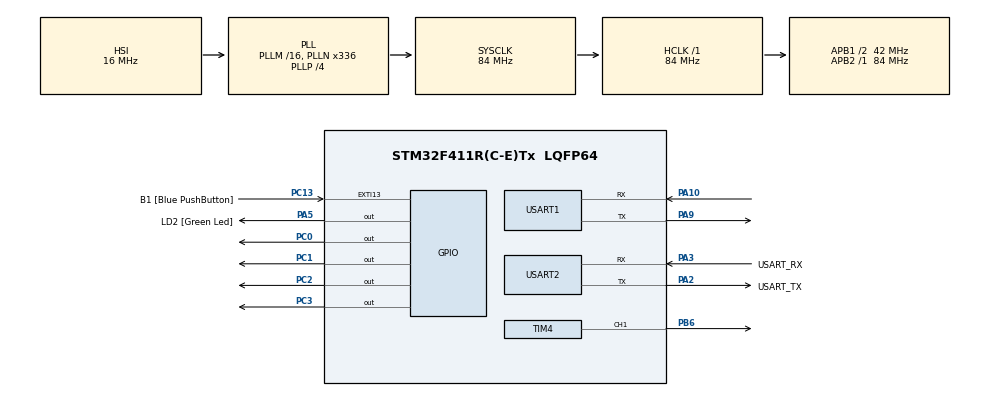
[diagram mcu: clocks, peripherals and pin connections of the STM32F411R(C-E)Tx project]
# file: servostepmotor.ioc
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Dma.Request0=USART1_RX
Dma.Request1=USART2_TX
Dma.USART1_RX.0.Direction=DMA_PERIPH_TO_MEMORY
Dma.USART1_RX.0.FIFOMode=DMA_FIFOMODE_DISABLE
Dma.USART1_RX.0.Instance=DMA2_Stream2
Dma.USART1_RX.0.MemDataAlignment=DMA_MDATAALIGN_BYTE
Dma.USART1_RX.0.MemInc=DMA_MINC_ENABLE
Dma.USART1_RX.0.Mode=DMA_NORMAL
Dma.USART1_RX.0.PeriphDataAlignment=DMA_PDATAALIGN_BYTE
Dma.USART1_RX.0.PeriphInc=DMA_PINC_DISABLE
Dma.USART1_RX.0.Priority=DMA_PRIORITY_HIGH
Dma.USART2_TX.1.Direction=DMA_MEMORY_TO_PERIPH
Dma.USART2_TX.1.FIFOMode=DMA_FIFOMODE_DISABLE
Dma.USART2_TX.1.Instance=DMA1_Stream6
Dma.USART2_TX.1.MemDataAlignment=DMA_MDATAALIGN_BYTE
Dma.USART2_TX.1.MemInc=DMA_MINC_ENABLE
Dma.USART2_TX.1.Mode=DMA_NORMAL
Dma.USART2_TX.1.PeriphDataAlignment=DMA_PDATAALIGN_BYTE
Dma.USART2_TX.1.PeriphInc=DMA_PINC_DISABLE
Dma.USART2_TX.1.Priority=DMA_PRIORITY_HIGH
FREERTOS.Tasks01=motorTask,0,128,StartDefaultTask,Default,NULL,Dynamic,NULL,NULL;myTask02,-3,128,StartTask02,Default,NULL,Dynamic,NULL,NULL;myTask03,-3,128,StartTask03,Default,NULL,Dynamic,NULL,NULL
FREERTOS.configUSE_NEWLIB_REENTRANT=1
Mcu.Family=STM32F4
Mcu.Name=STM32F411R(C-E)Tx
Mcu.Package=LQFP64
NVIC.DMA1_Stream6_IRQn=true\:5\:0\:false\:false\:true\:true\:false\:true\:true
NVIC.DMA2_Stream2_IRQn=true\:5\:0\:false\:false\:true\:true\:false\:true\:true
NVIC.PriorityGroup=NVIC_PRIORITYGROUP_4
NVIC.TIM3_IRQn=true\:15\:0\:false\:false\:true\:false\:false\:true\:true
NVIC.TIM4_IRQn=true\:5\:0\:false\:false\:true\:true\:true\:true\:true
NVIC.TimeBase=TIM3_IRQn
NVIC.TimeBaseIP=TIM3
NVIC.USART1_IRQn=true\:5\:0\:false\:false\:true\:true\:true\:true\:true
NVIC.USART2_IRQn=true\:5\:0\:false\:false\:true\:true\:true\:true\:true
PA10.Mode=Asynchronous
PA10.Signal=USART1_RX
PA13.GPIO_Label=TMS
PA13.Mode=Serial_Wire
PA13.Signal=SYS_JTMS-SWDIO
PA14.GPIO_Label=TCK
PA14.Mode=Serial_Wire
PA14.Signal=SYS_JTCK-SWCLK
PA2.GPIO_Label=USART_TX
PA2.Mode=Asynchronous
PA2.Signal=USART2_TX
PA3.GPIO_Label=USART_RX
PA3.Mode=Asynchronous
PA3.Signal=USART2_RX
PA5.GPIO_Label=LD2 [Green Led]
PA5.Signal=GPIO_Output
PA9.Mode=Asynchronous
PA9.Signal=USART1_TX
PB3.GPIO_Label=SWO
PB3.Signal=SYS_JTDO-SWO
PB6.Signal=S_TIM4_CH1
PC0.Signal=GPIO_Output
PC1.Signal=GPIO_Output
PC13-ANTI_TAMP.GPIO_Label=B1 [Blue PushButton]
PC13-ANTI_TAMP.GPIO_ModeDefaultEXTI=GPIO_MODE_IT_FALLING
PC13-ANTI_TAMP.Signal=GPXTI13
PC14-OSC32_IN.Mode=LSE-External-Oscillator
PC14-OSC32_IN.Signal=RCC_OSC32_IN
PC15-OSC32_OUT.Mode=LSE-External-Oscillator
PC15-OSC32_OUT.Signal=RCC_OSC32_OUT
PC2.Signal=GPIO_Output
PC3.Signal=GPIO_Output
PH0\ -\ OSC_IN.Mode=HSE-External-Clock-Source
PH0\ -\ OSC_IN.Signal=RCC_OSC_IN
PH1\ -\ OSC_OUT.Mode=HSE-External-Clock-Source
PH1\ -\ OSC_OUT.Signal=RCC_OSC_OUT
ProjectManager.HeapSize=0x200
ProjectManager.StackSize=0x400
ProjectManager.TargetToolchain=STM32CubeIDE
RCC.48MHZClocksFreq_Value=84000000
RCC.AHBFreq_Value=84000000
RCC.APB1CLKDivider=RCC_HCLK_DIV2
RCC.APB1Freq_Value=42000000
RCC.APB1TimFreq_Value=84000000
RCC.APB2Freq_Value=84000000
RCC.APB2TimFreq_Value=84000000
RCC.CortexFreq_Value=84000000
RCC.FLatency-AdvancedSettings=FLASH_LATENCY_2
RCC.HCLKFreq_Value=84000000
RCC.HSE_VALUE=8000000
RCC.HSI_VALUE=16000000
RCC.PLLN=336
RCC.PLLP=RCC_PLLP_DIV4
RCC.SYSCLKFreq_VALUE=84000000
RCC.SYSCLKSource=RCC_SYSCLKSOURCE_PLLCLK
RCC.VCOOutputFreq_Value=336000000
SH.S_TIM4_CH1.0=TIM4_CH1,PWM Generation1 CH1
TIM4.Channel-PWM\ Generation1\ CH1=TIM_CHANNEL_1
TIM4.Period=20000-1
TIM4.Prescaler=84-1
TIM4.Pulse-PWM\ Generation1\ CH1=0
USART1.VirtualMode=VM_ASYNC
USART2.VirtualMode=VM_ASYNC
VP_FREERTOS_VS_CMSIS_V1.Mode=CMSIS_V1
VP_SYS_VS_tim3.Mode=TIM3
VP_TIM4_VS_ClockSourceINT.Mode=Internal
board=NUCLEO-F411RE

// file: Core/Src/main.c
/* USER CODE BEGIN Header */
/**
  ******************************************************************************
  * @file           : main.c
  * @brief          : Main program body
  ******************************************************************************
  * @attention
  *
  * Copyright (c) 2025 STMicroelectronics.
  * All rights reserved.
  *
  * This software is licensed under terms that can be found in the LICENSE file
  * in the root directory of this software component.
  * If no LICENSE file comes with this software, it is provided AS-IS.
  *
  ******************************************************************************
  */
/* USER CODE END Header */
#include "main.h"
#include "cmsis_os.h"

/* USER CODE BEGIN Includes */
#include <stdio.h>
#include <string.h>
#include <stdlib.h>
/* USER CODE END Includes */

/* USER CODE BEGIN PTD */
#ifdef __GNUC__
/* With GCC, small printf (option LD Linker->Libraries->Small printf
   set to 'Yes') calls __io_putchar() */
#define PUTCHAR_PROTOTYPE int __io_putchar(int ch)
#else
#define PUTCHAR_PROTOTYPE int fputc(int ch, FILE *f)
#endif /* __GNUC__ */
/* USER CODE END PTD */

/* USER CODE BEGIN PD */
#define RX_BUF_LEN 256
#define ARR_CNT 5
/* USER CODE END PD */

TIM_HandleTypeDef htim4;

UART_HandleTypeDef huart1;
UART_HandleTypeDef huart2;
DMA_HandleTypeDef hdma_usart1_rx;
DMA_HandleTypeDef hdma_usart2_tx;

osThreadId motorTaskHandle;
osThreadId myTask02Handle;
osThreadId myTask03Handle;
/* USER CODE BEGIN PV */
typedef enum {
    MOTOR_STOP,
    MOTOR_FORWARD,
    //MOTOR_BACKWARD
} MotorCommand_t;

volatile MotorCommand_t motorCommand = MOTOR_STOP;
volatile int motorFlag = 1;
volatile int servoDone = 0;
volatile int uartFlag = 0;
uint8_t rx_buf[RX_BUF_LEN];
/* USER CODE END PV */

void SystemClock_Config(void);
static void MX_GPIO_Init(void);
static void MX_DMA_Init(void);
static void MX_USART2_UART_Init(void);
static void MX_TIM4_Init(void);
static void MX_USART1_UART_Init(void);
void StartDefaultTask(void const * argument);
void StartTask02(void const * argument);
void StartTask03(void const * argument);

/* USER CODE BEGIN PFP */
void stepMotor(int step);
void Forward90(void);
//void Backward90(void);
/* USER CODE END PFP */

int main(void)
{

  /* MCU Configuration--------------------------------------------------------*/

  /* Reset of all peripherals, Initializes the Flash interface and the Systick. */
  HAL_Init();

  /* Configure the system clock */
  SystemClock_Config();

  /* Initialize all configured peripherals */
  MX_GPIO_Init();
  MX_DMA_Init();
  MX_USART2_UART_Init();
  MX_TIM4_Init();
  MX_USART1_UART_Init();
  /* USER CODE BEGIN 2 */
  if(HAL_TIM_Base_Start_IT(&htim4) != HAL_OK) //인터럽트 시작
  	Error_Handler();

  if(HAL_TIM_PWM_Start(&htim4, TIM_CHANNEL_1) != HAL_OK)
	Error_Handler();

  HAL_UARTEx_ReceiveToIdle_DMA(&huart1, rx_buf, RX_BUF_LEN);//uart활성화
  /* USER CODE END 2 */

  /* Create the thread(s) */
  /* definition and creation of motorTask */
  osThreadDef(motorTask, StartDefaultTask, osPriorityNormal, 0, 128);
  motorTaskHandle = osThreadCreate(osThread(motorTask), NULL);

  /* definition and creation of myTask02 */
  osThreadDef(myTask02, StartTask02, osPriorityIdle, 0, 128);
  myTask02Handle = osThreadCreate(osThread(myTask02), NULL);

  /* definition and creation of myTask03 */
  osThreadDef(myTask03, StartTask03, osPriorityIdle, 0, 128);
  myTask03Handle = osThreadCreate(osThread(myTask03), NULL);

  /* Start scheduler */
  osKernelStart();

  /* We should never get here as control is now taken by the scheduler */

  /* Infinite loop */
  while (1)
  {

  }
}

void SystemClock_Config(void)
{
  RCC_OscInitTypeDef RCC_OscInitStruct = {0};
  RCC_ClkInitTypeDef RCC_ClkInitStruct = {0};

  /** Configure the main internal regulator output voltage
  */
  __HAL_RCC_PWR_CLK_ENABLE();
  __HAL_PWR_VOLTAGESCALING_CONFIG(PWR_REGULATOR_VOLTAGE_SCALE1);

  /** Initializes the RCC Oscillators according to the specified parameters
  * in the RCC_OscInitTypeDef structure.
  */
  RCC_OscInitStruct.OscillatorType = RCC_OSCILLATORTYPE_HSI;
  RCC_OscInitStruct.HSIState = RCC_HSI_ON;
  RCC_OscInitStruct.HSICalibrationValue = RCC_HSICALIBRATION_DEFAULT;
  RCC_OscInitStruct.PLL.PLLState = RCC_PLL_ON;
  RCC_OscInitStruct.PLL.PLLSource = RCC_PLLSOURCE_HSI;
  RCC_OscInitStruct.PLL.PLLM = 16;
  RCC_OscInitStruct.PLL.PLLN = 336;
  RCC_OscInitStruct.PLL.PLLP = RCC_PLLP_DIV4;
  RCC_OscInitStruct.PLL.PLLQ = 4;
  if (HAL_RCC_OscConfig(&RCC_OscInitStruct) != HAL_OK)
  {
    Error_Handler();
  }

  /** Initializes the CPU, AHB and APB buses clocks
  */
  RCC_ClkInitStruct.ClockType = RCC_CLOCKTYPE_HCLK|RCC_CLOCKTYPE_SYSCLK
                              |RCC_CLOCKTYPE_PCLK1|RCC_CLOCKTYPE_PCLK2;
  RCC_ClkInitStruct.SYSCLKSource = RCC_SYSCLKSOURCE_PLLCLK;
  RCC_ClkInitStruct.AHBCLKDivider = RCC_SYSCLK_DIV1;
  RCC_ClkInitStruct.APB1CLKDivider = RCC_HCLK_DIV2;
  RCC_ClkInitStruct.APB2CLKDivider = RCC_HCLK_DIV1;

  if (HAL_RCC_ClockConfig(&RCC_ClkInitStruct, FLASH_LATENCY_2) != HAL_OK)
  {
    Error_Handler();
  }
}

static void MX_TIM4_Init(void)
{

  TIM_ClockConfigTypeDef sClockSourceConfig = {0};
  TIM_MasterConfigTypeDef sMasterConfig = {0};
  TIM_OC_InitTypeDef sConfigOC = {0};

  htim4.Instance = TIM4;
  htim4.Init.Prescaler = 84-1;
  htim4.Init.CounterMode = TIM_COUNTERMODE_UP;
  htim4.Init.Period = 20000-1;
  htim4.Init.ClockDivision = TIM_CLOCKDIVISION_DIV1;
  htim4.Init.AutoReloadPreload = TIM_AUTORELOAD_PRELOAD_DISABLE;
  if (HAL_TIM_Base_Init(&htim4) != HAL_OK)
  {
    Error_Handler();
  }
  sClockSourceConfig.ClockSource = TIM_CLOCKSOURCE_INTERNAL;
  if (HAL_TIM_ConfigClockSource(&htim4, &sClockSourceConfig) != HAL_OK)
  {
    Error_Handler();
  }
  if (HAL_TIM_PWM_Init(&htim4) != HAL_OK)
  {
    Error_Handler();
  }
  sMasterConfig.MasterOutputTrigger = TIM_TRGO_RESET;
  sMasterConfig.MasterSlaveMode = TIM_MASTERSLAVEMODE_DISABLE;
  if (HAL_TIMEx_MasterConfigSynchronization(&htim4, &sMasterConfig) != HAL_OK)
  {
    Error_Handler();
  }
  sConfigOC.OCMode = TIM_OCMODE_PWM1;
  sConfigOC.Pulse = 0;
  sConfigOC.OCPolarity = TIM_OCPOLARITY_HIGH;
  sConfigOC.OCFastMode = TIM_OCFAST_DISABLE;
  if (HAL_TIM_PWM_ConfigChannel(&htim4, &sConfigOC, TIM_CHANNEL_1) != HAL_OK)
  {
    Error_Handler();
  }
  HAL_TIM_MspPostInit(&htim4);

}

static void MX_USART1_UART_Init(void)
{

  huart1.Instance = USART1;
  huart1.Init.BaudRate = 115200;
  huart1.Init.WordLength = UART_WORDLENGTH_8B;
  huart1.Init.StopBits = UART_STOPBITS_1;
  huart1.Init.Parity = UART_PARITY_NONE;
  huart1.Init.Mode = UART_MODE_TX_RX;
  huart1.Init.HwFlowCtl = UART_HWCONTROL_NONE;
  huart1.Init.OverSampling = UART_OVERSAMPLING_16;
  if (HAL_UART_Init(&huart1) != HAL_OK)
  {
    Error_Handler();
  }

}

static void MX_USART2_UART_Init(void)
{

  huart2.Instance = USART2;
  huart2.Init.BaudRate = 115200;
  huart2.Init.WordLength = UART_WORDLENGTH_8B;
  huart2.Init.StopBits = UART_STOPBITS_1;
  huart2.Init.Parity = UART_PARITY_NONE;
  huart2.Init.Mode = UART_MODE_TX_RX;
  huart2.Init.HwFlowCtl = UART_HWCONTROL_NONE;
  huart2.Init.OverSampling = UART_OVERSAMPLING_16;
  if (HAL_UART_Init(&huart2) != HAL_OK)
  {
    Error_Handler();
  }

}

static void MX_DMA_Init(void)
{

  /* DMA controller clock enable */
  __HAL_RCC_DMA2_CLK_ENABLE();
  __HAL_RCC_DMA1_CLK_ENABLE();

  /* DMA interrupt init */
  /* DMA1_Stream6_IRQn interrupt configuration */
  HAL_NVIC_SetPriority(DMA1_Stream6_IRQn, 5, 0);
  HAL_NVIC_EnableIRQ(DMA1_Stream6_IRQn);
  /* DMA2_Stream2_IRQn interrupt configuration */
  HAL_NVIC_SetPriority(DMA2_Stream2_IRQn, 5, 0);
  HAL_NVIC_EnableIRQ(DMA2_Stream2_IRQn);

}

static void MX_GPIO_Init(void)
{
  GPIO_InitTypeDef GPIO_InitStruct = {0};

  /* GPIO Ports Clock Enable */
  __HAL_RCC_GPIOC_CLK_ENABLE();
  __HAL_RCC_GPIOH_CLK_ENABLE();
  __HAL_RCC_GPIOA_CLK_ENABLE();
  __HAL_RCC_GPIOB_CLK_ENABLE();

  /*Configure GPIO pin Output Level */
  HAL_GPIO_WritePin(GPIOC, GPIO_PIN_0|GPIO_PIN_1|GPIO_PIN_2|GPIO_PIN_3, GPIO_PIN_RESET);

  /*Configure GPIO pin Output Level */
  HAL_GPIO_WritePin(LD2_GPIO_Port, LD2_Pin, GPIO_PIN_RESET);

  /*Configure GPIO pin : B1_Pin */
  GPIO_InitStruct.Pin = B1_Pin;
  GPIO_InitStruct.Mode = GPIO_MODE_IT_FALLING;
  GPIO_InitStruct.Pull = GPIO_NOPULL;
  HAL_GPIO_Init(B1_GPIO_Port, &GPIO_InitStruct);

  /*Configure GPIO pins : PC0 PC1 PC2 PC3 */
  GPIO_InitStruct.Pin = GPIO_PIN_0|GPIO_PIN_1|GPIO_PIN_2|GPIO_PIN_3;
  GPIO_InitStruct.Mode = GPIO_MODE_OUTPUT_PP;
  GPIO_InitStruct.Pull = GPIO_NOPULL;
  GPIO_InitStruct.Speed = GPIO_SPEED_FREQ_LOW;
  HAL_GPIO_Init(GPIOC, &GPIO_InitStruct);

  /*Configure GPIO pin : LD2_Pin */
  GPIO_InitStruct.Pin = LD2_Pin;
  GPIO_InitStruct.Mode = GPIO_MODE_OUTPUT_PP;
  GPIO_InitStruct.Pull = GPIO_NOPULL;
  GPIO_InitStruct.Speed = GPIO_SPEED_FREQ_LOW;
  HAL_GPIO_Init(LD2_GPIO_Port, &GPIO_InitStruct);

}

/* USER CODE BEGIN 4 */
void HAL_UARTEx_RxEventCallback(UART_HandleTypeDef *huart, uint16_t Size) //uart인터럽트
{
  if(huart->Instance==USART1){
    // rx_buf[0..Size-1] 가 이번 프레임
    // Circular 유지하려면: __HAL_DMA_DISABLE_IT(huart->hdmarx, DMA_IT_HT); // 선택
	  uartFlag = 1;
	  HAL_UART_Transmit(&huart2, rx_buf, Size, 100);

	  HAL_UARTEx_ReceiveToIdle_DMA(&huart1, rx_buf, RX_BUF_LEN);
  }
}

void stepMotor(int step) {
    switch (step) {
        case 0:
            HAL_GPIO_WritePin(GPIOC, GPIO_PIN_0, GPIO_PIN_SET);
            HAL_GPIO_WritePin(GPIOC, GPIO_PIN_1, GPIO_PIN_RESET);
            HAL_GPIO_WritePin(GPIOC, GPIO_PIN_2, GPIO_PIN_RESET);
            HAL_GPIO_WritePin(GPIOC, GPIO_PIN_3, GPIO_PIN_RESET);
            break;
        case 1:
            HAL_GPIO_WritePin(GPIOC, GPIO_PIN_0, GPIO_PIN_SET);
            HAL_GPIO_WritePin(GPIOC, GPIO_PIN_1, GPIO_PIN_SET);
            HAL_GPIO_WritePin(GPIOC, GPIO_PIN_2, GPIO_PIN_RESET);
            HAL_GPIO_WritePin(GPIOC, GPIO_PIN_3, GPIO_PIN_RESET);
            break;
        case 2:
            HAL_GPIO_WritePin(GPIOC, GPIO_PIN_0, GPIO_PIN_RESET);
            HAL_GPIO_WritePin(GPIOC, GPIO_PIN_1, GPIO_PIN_SET);
            HAL_GPIO_WritePin(GPIOC, GPIO_PIN_2, GPIO_PIN_RESET);
            HAL_GPIO_WritePin(GPIOC, GPIO_PIN_3, GPIO_PIN_RESET);
            break;
        case 3:
            HAL_GPIO_WritePin(GPIOC, GPIO_PIN_0, GPIO_PIN_RESET);
            HAL_GPIO_WritePin(GPIOC, GPIO_PIN_1, GPIO_PIN_SET);
            HAL_GPIO_WritePin(GPIOC, GPIO_PIN_2, GPIO_PIN_SET);
            HAL_GPIO_WritePin(GPIOC, GPIO_PIN_3, GPIO_PIN_RESET);
            break;
        case 4:
            HAL_GPIO_WritePin(GPIOC, GPIO_PIN_0, GPIO_PIN_RESET);
            HAL_GPIO_WritePin(GPIOC, GPIO_PIN_1, GPIO_PIN_RESET);
            HAL_GPIO_WritePin(GPIOC, GPIO_PIN_2, GPIO_PIN_SET);
            HAL_GPIO_WritePin(GPIOC, GPIO_PIN_3, GPIO_PIN_RESET);
            break;
        case 5:
            HAL_GPIO_WritePin(GPIOC, GPIO_PIN_0, GPIO_PIN_RESET);
            HAL_GPIO_WritePin(GPIOC, GPIO_PIN_1, GPIO_PIN_RESET);
            HAL_GPIO_WritePin(GPIOC, GPIO_PIN_2, GPIO_PIN_SET);
            HAL_GPIO_WritePin(GPIOC, GPIO_PIN_3, GPIO_PIN_SET);
            break;
        case 6:
            HAL_GPIO_WritePin(GPIOC, GPIO_PIN_0, GPIO_PIN_RESET);
            HAL_GPIO_WritePin(GPIOC, GPIO_PIN_1, GPIO_PIN_RESET);
            HAL_GPIO_WritePin(GPIOC, GPIO_PIN_2, GPIO_PIN_RESET);
            HAL_GPIO_WritePin(GPIOC, GPIO_PIN_3, GPIO_PIN_SET);
            break;
        case 7:
            HAL_GPIO_WritePin(GPIOC, GPIO_PIN_0, GPIO_PIN_SET);
            HAL_GPIO_WritePin(GPIOC, GPIO_PIN_1, GPIO_PIN_RESET);
            HAL_GPIO_WritePin(GPIOC, GPIO_PIN_2, GPIO_PIN_RESET);
            HAL_GPIO_WritePin(GPIOC, GPIO_PIN_3, GPIO_PIN_SET);
            break;
    }
}

void Forward90(void)
{
    const int one_revolution = 4096;
    const int delay_ms = 1;

    for(int i = 0; i < one_revolution / 4; i++)
    {
        // 8-step sequence (0 to 7)
        stepMotor(i % 8);
        osDelay(delay_ms);
    }
}

//void Backward90(void)
//{
//    const int one_revolution = 4096;
//    const int delay_ms = 1;
//
//    for(int i = 0; i < one_revolution / 4; i++)
//    {
//        // 8-step sequence in reverse (7 to 0)
//        stepMotor(7 - (i % 8));
//        osDelay(delay_ms);
//    }
//}

PUTCHAR_PROTOTYPE
{
  /* Place your implementation of fputc here */
  /* e.g. write a character to the USART6 and Loop until the end of transmission */
  HAL_UART_Transmit(&huart2, (uint8_t *)&ch, 1, 0xFFFF);

  return ch;
}
/* USER CODE END 4 */

void StartDefaultTask(void const * argument)
{
  /* USER CODE BEGIN 5 */
  /* Infinite loop */
  for(;;)
  {
	  switch (motorCommand)
		{
			case MOTOR_FORWARD:
				__HAL_TIM_SetCompare(&htim4, TIM_CHANNEL_1, 1000); //-45도
				osDelay(1000);
		//			__HAL_TIM_SetCompare(&htim4, TIM_CHANNEL_1, 1500); //0도
		//			osDelay(1000);
				__HAL_TIM_SetCompare(&htim4, TIM_CHANNEL_1, 2000); //45도
				servoDone = 1;
				motorCommand = MOTOR_STOP; // 명령 수행 완료 후 대기 상태로 변경
				break;

			case MOTOR_STOP:
				motorFlag = 0;
				break;
		}
	  if(!motorFlag&&servoDone)
	  {
		  Forward90();
		  servoDone = 0;
	  }
	  osDelay(10);
  }
  /* USER CODE END 5 */
}

void StartTask02(void const * argument)
{
  /* USER CODE BEGIN StartTask02 */
  /* Infinite loop */
  for(;;)
  {

	int i=0;
	char * pToken;
	char * pArray[ARR_CNT]={0};
	int arrbuff[4];
	pToken = strtok(rx_buf,"@");
	while(pToken != NULL)
	{
		pArray[i] =  pToken;
		if(++i >= ARR_CNT)
		  break;
		pToken = strtok(NULL,"@");
	}
	for(int j =0; j<sizeof(arrbuff)/sizeof(int); j++)
	{
		arrbuff[j]= atoi(pArray[j]);
	}
	if(uartFlag)
	{
		for(int k =0; k<sizeof(arrbuff)/sizeof(int); k++)
			{
				printf("arrbuff-> %d\r\n",arrbuff[k]);
				if (arrbuff[k])
				{
					  motorCommand = MOTOR_FORWARD;
					  motorFlag = 1;
					  servoDone = 0;

					  osDelay(3000);
				}
				else
				{
					Forward90();
					motorFlag = 1;
					servoDone = 0;
					osDelay(100);
				}
			}
	}
	uartFlag = 0;
	osDelay(10);
  }
  /* USER CODE END StartTask02 */
}

void StartTask03(void const * argument)
{
  for(;;)
  {
    osDelay(1);
  }
}

void HAL_TIM_PeriodElapsedCallback(TIM_HandleTypeDef *htim)
{
  /* USER CODE BEGIN Callback 0 */

	if(htim->Instance == TIM4)
	{
		HAL_IncTick();

	}
  /* USER CODE END Callback 0 */
  if (htim->Instance == TIM3)
  {
    HAL_IncTick();
  }
}

void Error_Handler(void)
{
  __disable_irq();
  while (1)
  {
  }
}
